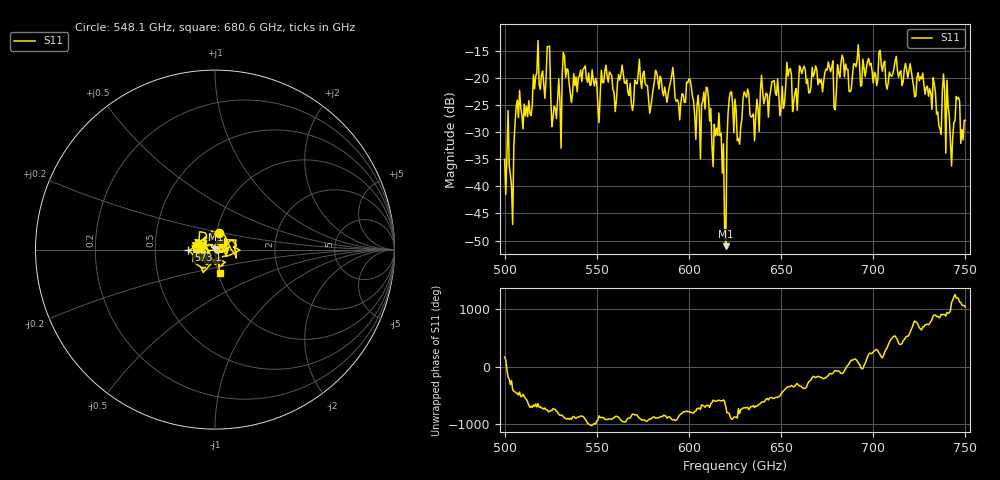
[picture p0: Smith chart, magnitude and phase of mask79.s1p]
!Created with skrf (http://scikit-rf.org).
# GHz S MA R 50.0
!freq magS11 angS11
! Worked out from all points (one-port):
!   401 points, 500 GHz to 750 GHz, reference 50 ohm
!   lowest |S11| = -51.0 dB at 620 GHz (marker M1), VSWR 1.01, Z = 50.3 + j0.107 ohm
!   |S11| at or under -10 dB: start of sweep to end of sweep
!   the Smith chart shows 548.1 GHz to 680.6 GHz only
!   S11 on the Smith chart (normalised r, x): 548.1 GHz: 1.02, +0.19; 573.1 GHz: 0.74, -0.01; 680.6 GHz: 1.02, -0.27
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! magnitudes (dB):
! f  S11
! 500 GHz  -35.0
! 503.8 GHz  -40.0
! 506.9 GHz  -24.1
! 513.8 GHz  -26.6
! 516.9 GHz  -19.7
! 523.8 GHz  -14.2
! 526.9 GHz  -25.3
! 531.2 GHz  -19.4
! 548.1 GHz  -20.5
! 562.5 GHz  -20.4
! 568.8 GHz  -24.6
! 573.1 GHz  -16.6
! 593.8 GHz  -24.0
! 600 GHz  -20.2
! 605 GHz  -23.2
! 609.4 GHz  -21.7
! 620 GHz  -51.0
! 622.5 GHz  -22.7
! 625 GHz  -23.9
! 656.2 GHz  -26.2
! 680.6 GHz  -17.6
! 687.5 GHz  -22.5
! 718.8 GHz  -20.0
! 735.6 GHz  -28.8
! 738.8 GHz  -22.3
! 743.1 GHz  -31.0
! 745.6 GHz  -23.9
! 750 GHz  -27.9
